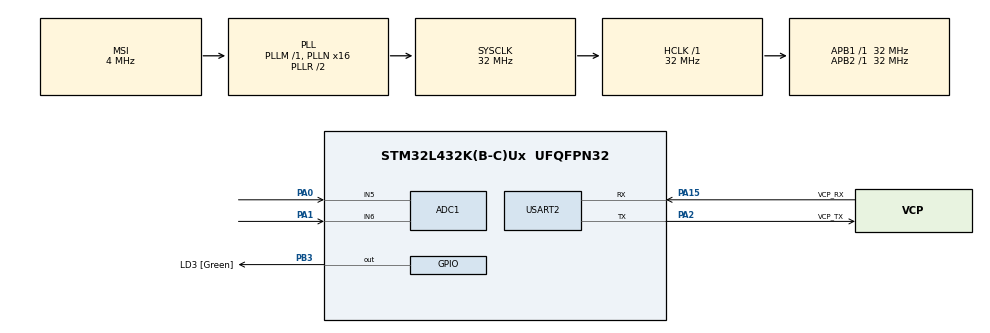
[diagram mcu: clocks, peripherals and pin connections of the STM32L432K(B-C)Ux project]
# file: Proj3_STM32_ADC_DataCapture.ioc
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ADC1.Channel-0\#ChannelRegularConversion=ADC_CHANNEL_5
ADC1.Channel-1\#ChannelRegularConversion=ADC_CHANNEL_6
ADC1.ContinuousConvMode=DISABLE
ADC1.DMAContinuousRequests=ENABLE
ADC1.ExternalTrigConv=ADC_EXTERNALTRIG_T2_TRGO
ADC1.NbrOfConversion=2
ADC1.NbrOfConversionFlag=1
ADC1.OffsetNumber-0\#ChannelRegularConversion=ADC_OFFSET_NONE
ADC1.OffsetNumber-1\#ChannelRegularConversion=ADC_OFFSET_NONE
ADC1.Overrun=ADC_OVR_DATA_OVERWRITTEN
ADC1.Rank-0\#ChannelRegularConversion=1
ADC1.Rank-1\#ChannelRegularConversion=2
ADC1.SamplingTime-0\#ChannelRegularConversion=ADC_SAMPLETIME_24CYCLES_5
ADC1.SamplingTime-1\#ChannelRegularConversion=ADC_SAMPLETIME_24CYCLES_5
ADC1.master=1
Dma.ADC1.0.Direction=DMA_PERIPH_TO_MEMORY
Dma.ADC1.0.Instance=DMA1_Channel1
Dma.ADC1.0.MemDataAlignment=DMA_MDATAALIGN_HALFWORD
Dma.ADC1.0.MemInc=DMA_MINC_ENABLE
Dma.ADC1.0.Mode=DMA_CIRCULAR
Dma.ADC1.0.PeriphDataAlignment=DMA_PDATAALIGN_HALFWORD
Dma.ADC1.0.PeriphInc=DMA_PINC_DISABLE
Dma.ADC1.0.Priority=DMA_PRIORITY_LOW
Dma.Request0=ADC1
Mcu.Family=STM32L4
Mcu.Name=STM32L432K(B-C)Ux
Mcu.Package=UFQFPN32
NVIC.ADC1_IRQn=true\:0\:0\:false\:false\:true\:true\:true\:true
NVIC.DMA1_Channel1_IRQn=true\:0\:0\:false\:false\:true\:false\:true\:true
NVIC.PriorityGroup=NVIC_PRIORITYGROUP_4
NVIC.TIM2_IRQn=true\:0\:0\:false\:false\:true\:true\:true\:true
PA0.Signal=ADCx_IN5
PA1.Signal=ADCx_IN6
PA13\ (JTMS-SWDIO).GPIO_Label=SWDIO
PA13\ (JTMS-SWDIO).Mode=Serial_Wire
PA13\ (JTMS-SWDIO).Signal=SYS_JTMS-SWDIO
PA14\ (JTCK-SWCLK).GPIO_Label=SWCLK
PA14\ (JTCK-SWCLK).Mode=Serial_Wire
PA14\ (JTCK-SWCLK).Signal=SYS_JTCK-SWCLK
PA15\ (JTDI).GPIO_Label=VCP_RX
PA15\ (JTDI).Mode=Asynchronous
PA15\ (JTDI).Signal=USART2_RX
PA2.GPIO_Label=VCP_TX
PA2.Mode=Asynchronous
PA2.Signal=USART2_TX
PB3\ (JTDO-TRACESWO).GPIO_Label=LD3 [Green]
PB3\ (JTDO-TRACESWO).Signal=GPIO_Output
PC14-OSC32_IN\ (PC14).Mode=LSE-External-Oscillator
PC14-OSC32_IN\ (PC14).Signal=RCC_OSC32_IN
PC15-OSC32_OUT\ (PC15).Mode=LSE-External-Oscillator
PC15-OSC32_OUT\ (PC15).Signal=RCC_OSC32_OUT
ProjectManager.HeapSize=0x200
ProjectManager.StackSize=0x400
ProjectManager.TargetToolchain=STM32CubeIDE
RCC.ADCFreq_Value=32000000
RCC.AHBFreq_Value=32000000
RCC.APB1Freq_Value=32000000
RCC.APB1TimFreq_Value=32000000
RCC.APB2Freq_Value=32000000
RCC.APB2TimFreq_Value=32000000
RCC.CortexFreq_Value=32000000
RCC.HCLKFreq_Value=32000000
RCC.HSE_VALUE=8000000
RCC.HSI16_VALUE=16000000
RCC.HSI48_VALUE=48000000
RCC.HSI_VALUE=16000000
RCC.MSI_VALUE=4000000
RCC.PLLMUL=RCC_PLLMUL_4
RCC.PLLN=16
RCC.PLLSAI1N=16
RCC.SYSCLKFreq_VALUE=32000000
RCC.SYSCLKSource=RCC_SYSCLKSOURCE_PLLCLK
RCC.USBFreq_Value=32000000
RCC.VCOOutputFreq_Value=64000000
SH.ADCx_IN5.0=ADC1_IN5,IN5-Single-Ended
SH.ADCx_IN6.0=ADC1_IN6,IN6-Single-Ended
TIM2.Period=9999
TIM2.Prescaler=31
TIM2.TIM_MasterOutputTrigger=TIM_TRGO_UPDATE
USART2.VirtualMode-Asynchronous=VM_ASYNC
VP_TIM2_VS_ClockSourceINT.Mode=Internal
board=NUCLEO-L432KC

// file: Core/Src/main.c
/* USER CODE BEGIN Header */
/**
  ******************************************************************************
  * @file           : main.c
  * @brief          : Breath-rate sensing - dual ADC + DMA + TIM2 trigger
  *                   CH5 (PA0) -> sensor 1 (e.g. thermistor TMP61)
  *                   CH6 (PA1) -> sensor 2 (e.g. conductive rubber)
  *                   100 Hz synchronous sampling, CSV over USART2 @ 115200
  ******************************************************************************
  */
/* USER CODE END Header */
#include "main.h"

/* USER CODE BEGIN Includes */
#include <stdio.h>
#include <string.h>
/* USER CODE END Includes */

/* USER CODE BEGIN PD */
#define ADC_NUM_CH         2u      /* CH5 + CH6                            */
#define SAMPLE_RATE_HZ     100u    /* TIM2 update -> ADC trigger rate (Hz) */
/* USER CODE END PD */

ADC_HandleTypeDef hadc1;
DMA_HandleTypeDef hdma_adc1;

TIM_HandleTypeDef htim2;

UART_HandleTypeDef huart2;

/* USER CODE BEGIN PV */
/* DMA target buffer - one slot per channel, written every TIM2 tick.
 * Marked volatile because it's updated by DMA outside CPU control.        */
static volatile uint16_t adc_buf[ADC_NUM_CH];

/* Snapshot taken in the conversion-complete callback so the main loop
 * always prints a coherent (non-torn) sample pair.                        */
static volatile uint16_t adc_snap[ADC_NUM_CH];
static volatile uint8_t  sample_ready = 0;
/* USER CODE END PV */

void SystemClock_Config(void);
static void MX_GPIO_Init(void);
static void MX_DMA_Init(void);
static void MX_USART2_UART_Init(void);
static void MX_ADC1_Init(void);
static void MX_TIM2_Init(void);
/* USER CODE BEGIN PFP */
static void uart_print(const char *s);
/* USER CODE END PFP */

/* USER CODE BEGIN 0 */
static void uart_print(const char *s)
{
    HAL_UART_Transmit(&huart2, (uint8_t *)s, (uint16_t)strlen(s), HAL_MAX_DELAY);
}

/* DMA full-transfer callback: fires after both CH5 and CH6 have been
 * written into adc_buf[]. Latch the pair into adc_snap[] atomically.     */
void HAL_ADC_ConvCpltCallback(ADC_HandleTypeDef *hadc)
{
    if (hadc->Instance == ADC1)
    {
        adc_snap[0]  = adc_buf[0];
        adc_snap[1]  = adc_buf[1];
        sample_ready = 1;
    }
}
/* USER CODE END 0 */

int main(void)
{

  /* MCU Configuration--------------------------------------------------------*/

  /* Reset of all peripherals, Initializes the Flash interface and the Systick. */
  HAL_Init();

  /* Configure the system clock */
  SystemClock_Config();

  /* Initialize all configured peripherals */
  MX_GPIO_Init();
  MX_DMA_Init();
  MX_USART2_UART_Init();
  MX_ADC1_Init();
  MX_TIM2_Init();
  /* USER CODE BEGIN 2 */
  /* Calibrate before any conversion - improves accuracy noticeably for
   * the small breathing-induced changes we are trying to detect.        */
  if (HAL_ADCEx_Calibration_Start(&hadc1, ADC_SINGLE_ENDED) != HAL_OK) {
      Error_Handler();
  }

  /* CSV header so logging tools know the column order.                  */
  uart_print("thermistor,rubber\r\n");

  /* Start the ADC in DMA mode. Buffer is ADC_NUM_CH words; with
   * DMAContinuousRequests=ENABLE the DMA wraps and refills every TIM2
   * trigger.                                                            */
  if (HAL_ADC_Start_DMA(&hadc1,
                        (uint32_t *)adc_buf,
                        ADC_NUM_CH) != HAL_OK) {
      Error_Handler();
  }

  /* Start the timebase that triggers the ADC.                           */
  if (HAL_TIM_Base_Start(&htim2) != HAL_OK) {
      Error_Handler();
  }
  /* USER CODE END 2 */

  /* Infinite loop */
  /* USER CODE BEGIN WHILE */
  while (1)
  {
    if (sample_ready)
    {
        sample_ready = 0;

        /* Fixed 4-digit fields keep every line the same width, which
         * makes terminal output readable and makes downstream parsing
         * trivial. Range of a 12-bit ADC is 0..4095 -> always fits.    */
        char line[24];
        int n = snprintf(line, sizeof(line),
                         "%4u,%4u\r\n",
                         (unsigned)adc_snap[0],
                         (unsigned)adc_snap[1]);
        if (n > 0) {
            HAL_UART_Transmit(&huart2, (uint8_t *)line,
                              (uint16_t)n, HAL_MAX_DELAY);
        }
    }
    /* USER CODE END WHILE */

  }
}

void SystemClock_Config(void)
{
  RCC_OscInitTypeDef RCC_OscInitStruct = {0};
  RCC_ClkInitTypeDef RCC_ClkInitStruct = {0};

  /** Configure the main internal regulator output voltage
  */
  if (HAL_PWREx_ControlVoltageScaling(PWR_REGULATOR_VOLTAGE_SCALE1) != HAL_OK)
  {
    Error_Handler();
  }

  /** Configure LSE Drive Capability
  */
  HAL_PWR_EnableBkUpAccess();
  __HAL_RCC_LSEDRIVE_CONFIG(RCC_LSEDRIVE_LOW);

  /** Initializes the RCC Oscillators according to the specified parameters
  * in the RCC_OscInitTypeDef structure.
  */
  RCC_OscInitStruct.OscillatorType = RCC_OSCILLATORTYPE_LSE|RCC_OSCILLATORTYPE_MSI;
  RCC_OscInitStruct.LSEState = RCC_LSE_ON;
  RCC_OscInitStruct.MSIState = RCC_MSI_ON;
  RCC_OscInitStruct.MSICalibrationValue = 0;
  RCC_OscInitStruct.MSIClockRange = RCC_MSIRANGE_6;
  RCC_OscInitStruct.PLL.PLLState = RCC_PLL_ON;
  RCC_OscInitStruct.PLL.PLLSource = RCC_PLLSOURCE_MSI;
  RCC_OscInitStruct.PLL.PLLM = 1;
  RCC_OscInitStruct.PLL.PLLN = 16;
  RCC_OscInitStruct.PLL.PLLP = RCC_PLLP_DIV7;
  RCC_OscInitStruct.PLL.PLLQ = RCC_PLLQ_DIV2;
  RCC_OscInitStruct.PLL.PLLR = RCC_PLLR_DIV2;
  if (HAL_RCC_OscConfig(&RCC_OscInitStruct) != HAL_OK)
  {
    Error_Handler();
  }

  /** Initializes the CPU, AHB and APB buses clocks
  */
  RCC_ClkInitStruct.ClockType = RCC_CLOCKTYPE_HCLK|RCC_CLOCKTYPE_SYSCLK
                              |RCC_CLOCKTYPE_PCLK1|RCC_CLOCKTYPE_PCLK2;
  RCC_ClkInitStruct.SYSCLKSource = RCC_SYSCLKSOURCE_PLLCLK;
  RCC_ClkInitStruct.AHBCLKDivider = RCC_SYSCLK_DIV1;
  RCC_ClkInitStruct.APB1CLKDivider = RCC_HCLK_DIV1;
  RCC_ClkInitStruct.APB2CLKDivider = RCC_HCLK_DIV1;

  if (HAL_RCC_ClockConfig(&RCC_ClkInitStruct, FLASH_LATENCY_1) != HAL_OK)
  {
    Error_Handler();
  }

  /** Enable MSI Auto calibration
  */
  HAL_RCCEx_EnableMSIPLLMode();
}

static void MX_ADC1_Init(void)
{

  ADC_ChannelConfTypeDef sConfig = {0};

  /** Common config
  */
  hadc1.Instance = ADC1;
  hadc1.Init.ClockPrescaler = ADC_CLOCK_ASYNC_DIV1;
  hadc1.Init.Resolution = ADC_RESOLUTION_12B;
  hadc1.Init.DataAlign = ADC_DATAALIGN_RIGHT;
  hadc1.Init.ScanConvMode = ADC_SCAN_ENABLE;
  hadc1.Init.EOCSelection = ADC_EOC_SINGLE_CONV;
  hadc1.Init.LowPowerAutoWait = DISABLE;
  hadc1.Init.ContinuousConvMode = DISABLE;
  hadc1.Init.NbrOfConversion = 2;
  hadc1.Init.DiscontinuousConvMode = DISABLE;
  hadc1.Init.ExternalTrigConv = ADC_EXTERNALTRIG_T2_TRGO;
  hadc1.Init.ExternalTrigConvEdge = ADC_EXTERNALTRIGCONVEDGE_RISING;
  hadc1.Init.DMAContinuousRequests = ENABLE;
  hadc1.Init.Overrun = ADC_OVR_DATA_OVERWRITTEN;
  hadc1.Init.OversamplingMode = DISABLE;
  if (HAL_ADC_Init(&hadc1) != HAL_OK)
  {
    Error_Handler();
  }

  /** Configure Regular Channel
  */
  sConfig.Channel = ADC_CHANNEL_5;
  sConfig.Rank = ADC_REGULAR_RANK_1;
  sConfig.SamplingTime = ADC_SAMPLETIME_24CYCLES_5;
  sConfig.SingleDiff = ADC_SINGLE_ENDED;
  sConfig.OffsetNumber = ADC_OFFSET_NONE;
  sConfig.Offset = 0;
  if (HAL_ADC_ConfigChannel(&hadc1, &sConfig) != HAL_OK)
  {
    Error_Handler();
  }

  /** Configure Regular Channel
  */
  sConfig.Channel = ADC_CHANNEL_6;
  sConfig.Rank = ADC_REGULAR_RANK_2;
  if (HAL_ADC_ConfigChannel(&hadc1, &sConfig) != HAL_OK)
  {
    Error_Handler();
  }

}

static void MX_TIM2_Init(void)
{

  TIM_ClockConfigTypeDef sClockSourceConfig = {0};
  TIM_MasterConfigTypeDef sMasterConfig = {0};

  htim2.Instance = TIM2;
  htim2.Init.Prescaler = 31;
  htim2.Init.CounterMode = TIM_COUNTERMODE_UP;
  htim2.Init.Period = 9999;
  htim2.Init.ClockDivision = TIM_CLOCKDIVISION_DIV1;
  htim2.Init.AutoReloadPreload = TIM_AUTORELOAD_PRELOAD_DISABLE;
  if (HAL_TIM_Base_Init(&htim2) != HAL_OK)
  {
    Error_Handler();
  }
  sClockSourceConfig.ClockSource = TIM_CLOCKSOURCE_INTERNAL;
  if (HAL_TIM_ConfigClockSource(&htim2, &sClockSourceConfig) != HAL_OK)
  {
    Error_Handler();
  }
  sMasterConfig.MasterOutputTrigger = TIM_TRGO_UPDATE;
  sMasterConfig.MasterSlaveMode = TIM_MASTERSLAVEMODE_DISABLE;
  if (HAL_TIMEx_MasterConfigSynchronization(&htim2, &sMasterConfig) != HAL_OK)
  {
    Error_Handler();
  }

}

static void MX_USART2_UART_Init(void)
{

  huart2.Instance = USART2;
  huart2.Init.BaudRate = 115200;
  huart2.Init.WordLength = UART_WORDLENGTH_8B;
  huart2.Init.StopBits = UART_STOPBITS_1;
  huart2.Init.Parity = UART_PARITY_NONE;
  huart2.Init.Mode = UART_MODE_TX_RX;
  huart2.Init.HwFlowCtl = UART_HWCONTROL_NONE;
  huart2.Init.OverSampling = UART_OVERSAMPLING_16;
  huart2.Init.OneBitSampling = UART_ONE_BIT_SAMPLE_DISABLE;
  huart2.AdvancedInit.AdvFeatureInit = UART_ADVFEATURE_NO_INIT;
  if (HAL_UART_Init(&huart2) != HAL_OK)
  {
    Error_Handler();
  }

}

static void MX_DMA_Init(void)
{

  /* DMA controller clock enable */
  __HAL_RCC_DMA1_CLK_ENABLE();

  /* DMA interrupt init */
  /* DMA1_Channel1_IRQn interrupt configuration */
  HAL_NVIC_SetPriority(DMA1_Channel1_IRQn, 0, 0);
  HAL_NVIC_EnableIRQ(DMA1_Channel1_IRQn);

}

static void MX_GPIO_Init(void)
{
  GPIO_InitTypeDef GPIO_InitStruct = {0};

  /* GPIO Ports Clock Enable */
  __HAL_RCC_GPIOC_CLK_ENABLE();
  __HAL_RCC_GPIOA_CLK_ENABLE();
  __HAL_RCC_GPIOB_CLK_ENABLE();

  /*Configure GPIO pin Output Level */
  HAL_GPIO_WritePin(LD3_GPIO_Port, LD3_Pin, GPIO_PIN_RESET);

  /*Configure GPIO pin : LD3_Pin */
  GPIO_InitStruct.Pin = LD3_Pin;
  GPIO_InitStruct.Mode = GPIO_MODE_OUTPUT_PP;
  GPIO_InitStruct.Pull = GPIO_NOPULL;
  GPIO_InitStruct.Speed = GPIO_SPEED_FREQ_LOW;
  HAL_GPIO_Init(LD3_GPIO_Port, &GPIO_InitStruct);

}

void Error_Handler(void)
{
  __disable_irq();
  while (1)
  {
  }
}
